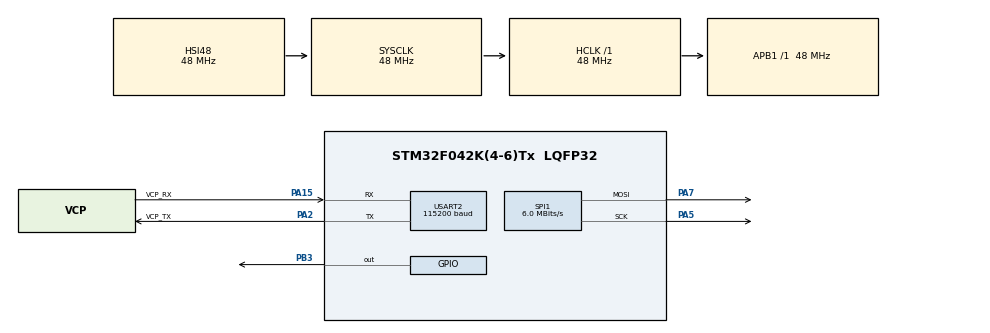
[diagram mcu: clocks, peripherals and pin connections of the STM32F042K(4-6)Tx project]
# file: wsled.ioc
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Dma.Request0=USART2_RX
Dma.Request1=USART2_TX
Dma.Request2=SPI1_TX
Dma.SPI1_TX.2.Direction=DMA_MEMORY_TO_PERIPH
Dma.SPI1_TX.2.Instance=DMA1_Channel3
Dma.SPI1_TX.2.MemDataAlignment=DMA_MDATAALIGN_BYTE
Dma.SPI1_TX.2.MemInc=DMA_MINC_ENABLE
Dma.SPI1_TX.2.Mode=DMA_NORMAL
Dma.SPI1_TX.2.PeriphDataAlignment=DMA_PDATAALIGN_BYTE
Dma.SPI1_TX.2.PeriphInc=DMA_PINC_DISABLE
Dma.SPI1_TX.2.Priority=DMA_PRIORITY_LOW
Dma.USART2_RX.0.Direction=DMA_PERIPH_TO_MEMORY
Dma.USART2_RX.0.Instance=DMA1_Channel5
Dma.USART2_RX.0.MemDataAlignment=DMA_MDATAALIGN_BYTE
Dma.USART2_RX.0.MemInc=DMA_MINC_ENABLE
Dma.USART2_RX.0.Mode=DMA_NORMAL
Dma.USART2_RX.0.PeriphDataAlignment=DMA_PDATAALIGN_BYTE
Dma.USART2_RX.0.PeriphInc=DMA_PINC_DISABLE
Dma.USART2_RX.0.Priority=DMA_PRIORITY_LOW
Dma.USART2_TX.1.Direction=DMA_MEMORY_TO_PERIPH
Dma.USART2_TX.1.Instance=DMA1_Channel4
Dma.USART2_TX.1.MemDataAlignment=DMA_MDATAALIGN_BYTE
Dma.USART2_TX.1.MemInc=DMA_MINC_ENABLE
Dma.USART2_TX.1.Mode=DMA_NORMAL
Dma.USART2_TX.1.PeriphDataAlignment=DMA_PDATAALIGN_BYTE
Dma.USART2_TX.1.PeriphInc=DMA_PINC_DISABLE
Dma.USART2_TX.1.Priority=DMA_PRIORITY_LOW
Mcu.Family=STM32F0
Mcu.Name=STM32F042K(4-6)Tx
Mcu.Package=LQFP32
NVIC.DMA1_Channel2_3_IRQn=true\:0\:0\:false\:false\:true\:false
NVIC.DMA1_Channel4_5_IRQn=true\:0\:0\:false\:false\:true\:false
NVIC.SPI1_IRQn=true\:0\:0\:false\:false\:true\:true
NVIC.USART2_IRQn=true\:0\:0\:false\:false\:true\:true
PA13.GPIO_Label=SWDIO
PA13.Mode=Serial_Wire
PA13.Signal=SYS_SWDIO
PA14.GPIO_Label=SWCLK
PA14.Mode=Serial_Wire
PA14.Signal=SYS_SWCLK
PA15.GPIO_Label=VCP_RX
PA15.Mode=Multiprocessor_communication
PA15.Signal=USART2_RX
PA2.GPIO_Label=VCP_TX
PA2.Mode=Multiprocessor_communication
PA2.Signal=USART2_TX
PA5.Mode=TX_Only_Simplex_Unidirect_Master
PA5.Signal=SPI1_SCK
PA7.Mode=TX_Only_Simplex_Unidirect_Master
PA7.Signal=SPI1_MOSI
PB3.Signal=GPIO_Output
PF0-OSC_IN.GPIO_Label=MCO
PF0-OSC_IN.Signal=RCC_OSC_IN
ProjectManager.HeapSize=0x200
ProjectManager.StackSize=0x400
ProjectManager.TargetToolchain=MDK-ARM V5
RCC.AHBFreq_Value=48000000
RCC.APB1Freq_Value=48000000
RCC.APB1TimFreq_Value=48000000
RCC.HCLKFreq_Value=48000000
RCC.PLLSourceVirtual=RCC_PLLSOURCE_HSI48
RCC.SYSCLKFreq_VALUE=48000000
RCC.SYSCLKSource=RCC_SYSCLKSOURCE_HSI48
SPI1.BaudRatePrescaler=SPI_BAUDRATEPRESCALER_8
SPI1.CalculateBaudRate=6.0 MBits/s
SPI1.DataSize=SPI_DATASIZE_8BIT
SPI1.Direction=SPI_DIRECTION_2LINES
SPI1.Mode=SPI_MODE_MASTER
SPI1.NSSPMode=SPI_NSS_PULSE_DISABLE
SPI1.VirtualType=VM_MASTER
USART2.BaudRate=115200
USART2.VirtualMode-Multiprocessor_communication=VM_ASYNC
USART2.WordLength=WORDLENGTH_8B
board=NUCLEO-F042K6

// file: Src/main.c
/**
  ******************************************************************************
  * @file           : main.c
  * @brief          : Main program body
  ******************************************************************************
  ** This notice applies to any and all portions of this file
  * that are not between comment pairs USER CODE BEGIN and
  * USER CODE END. Other portions of this file, whether
  * inserted by the user or by software development tools
  * are owned by their respective copyright owners.
  *
  * COPYRIGHT(c) 2018 STMicroelectronics
  *
  * Redistribution and use in source and binary forms, with or without modification,
  * are permitted provided that the following conditions are met:
  *   1. Redistributions of source code must retain the above copyright notice,
  *      this list of conditions and the following disclaimer.
  *   2. Redistributions in binary form must reproduce the above copyright notice,
  *      this list of conditions and the following disclaimer in the documentation
  *      and/or other materials provided with the distribution.
  *   3. Neither the name of STMicroelectronics nor the names of its contributors
  *      may be used to endorse or promote products derived from this software
  *      without specific prior written permission.
  *
  * THIS SOFTWARE IS PROVIDED BY THE COPYRIGHT HOLDERS AND CONTRIBUTORS "AS IS"
  * AND ANY EXPRESS OR IMPLIED WARRANTIES, INCLUDING, BUT NOT LIMITED TO, THE
  * IMPLIED WARRANTIES OF MERCHANTABILITY AND FITNESS FOR A PARTICULAR PURPOSE ARE
  * DISCLAIMED. IN NO EVENT SHALL THE COPYRIGHT HOLDER OR CONTRIBUTORS BE LIABLE
  * FOR ANY DIRECT, INDIRECT, INCIDENTAL, SPECIAL, EXEMPLARY, OR CONSEQUENTIAL
  * DAMAGES (INCLUDING, BUT NOT LIMITED TO, PROCUREMENT OF SUBSTITUTE GOODS OR
  * SERVICES; LOSS OF USE, DATA, OR PROFITS; OR BUSINESS INTERRUPTION) HOWEVER
  * CAUSED AND ON ANY THEORY OF LIABILITY, WHETHER IN CONTRACT, STRICT LIABILITY,
  * OR TORT (INCLUDING NEGLIGENCE OR OTHERWISE) ARISING IN ANY WAY OUT OF THE USE
  * OF THIS SOFTWARE, EVEN IF ADVISED OF THE POSSIBILITY OF SUCH DAMAGE.
  *
  ******************************************************************************
  */
#include "main.h"
#include "stm32f0xx_hal.h"
#include "dma.h"
#include "spi.h"
#include "usart.h"
#include "gpio.h"

/* USER CODE BEGIN Includes */
#include "ws2812.h"
/* USER CODE END Includes */

/* USER CODE BEGIN PV */
/* Private variables ---------------------------------------------------------*/

/* USER CODE END PV */

void SystemClock_Config(void);

/* USER CODE BEGIN PFP */
/* Private function prototypes -----------------------------------------------*/

/* USER CODE END PFP */

int main(void)
{
  /* USER CODE BEGIN 1 */
	//uint8_t Data[100];
	uint8_t Zero[10] ={0};
	uint32_t i,j = 0;
  /* USER CODE END 1 */

  /* MCU Configuration----------------------------------------------------------*/

  /* Reset of all peripherals, Initializes the Flash interface and the Systick. */
  HAL_Init();

  /* Configure the system clock */
  SystemClock_Config();

  /* Initialize all configured peripherals */
  MX_GPIO_Init();
  MX_DMA_Init();
  MX_SPI1_Init();
  MX_USART2_UART_Init();
  /* USER CODE BEGIN 2 */
  LightInit();
  /* USER CODE END 2 */

  /* Infinite loop */
  /* USER CODE BEGIN WHILE */
  while (1)
  {

		for(i = 0; i < 32 ; i++)
		{
			//SetLightColor(ColorTable[(j+i)%6],i);
			//SetLightRGB(0,255,0,i);
		}
		SmartLight();
		j++;
		LightUpdate();
		HAL_Delay(50);
		if(j < 300)
		{
			LightStatus.LEFT = LightStatus.Right = 0;
			LightStatus.BrakeLight = 0;
		}else if(j < 600)
		{
			LightStatus.LEFT = 1;
			LightStatus.BrakeLight = 1;
			LightStatus.MainLight  = 0;

		}
		else if(j < 900)
		{
			LightStatus.LEFT = 0;
			LightStatus.Right = 1;
			LightStatus.BrakeLight = 1;
			LightStatus.MainLight  = 0;
		}else
		{
			j = 0;
		}
  /* USER CODE END WHILE */

  }

}

void SystemClock_Config(void)
{

  RCC_OscInitTypeDef RCC_OscInitStruct;
  RCC_ClkInitTypeDef RCC_ClkInitStruct;

    /**Initializes the CPU, AHB and APB busses clocks
    */
  RCC_OscInitStruct.OscillatorType = RCC_OSCILLATORTYPE_HSI48;
  RCC_OscInitStruct.HSI48State = RCC_HSI48_ON;
  RCC_OscInitStruct.PLL.PLLState = RCC_PLL_NONE;
  if (HAL_RCC_OscConfig(&RCC_OscInitStruct) != HAL_OK)
  {
    _Error_Handler(__FILE__, __LINE__);
  }

    /**Initializes the CPU, AHB and APB busses clocks
    */
  RCC_ClkInitStruct.ClockType = RCC_CLOCKTYPE_HCLK|RCC_CLOCKTYPE_SYSCLK
                              |RCC_CLOCKTYPE_PCLK1;
  RCC_ClkInitStruct.SYSCLKSource = RCC_SYSCLKSOURCE_HSI48;
  RCC_ClkInitStruct.AHBCLKDivider = RCC_SYSCLK_DIV1;
  RCC_ClkInitStruct.APB1CLKDivider = RCC_HCLK_DIV1;

  if (HAL_RCC_ClockConfig(&RCC_ClkInitStruct, FLASH_LATENCY_1) != HAL_OK)
  {
    _Error_Handler(__FILE__, __LINE__);
  }

    /**Configure the Systick interrupt time
    */
  HAL_SYSTICK_Config(HAL_RCC_GetHCLKFreq()/1000);

    /**Configure the Systick
    */
  HAL_SYSTICK_CLKSourceConfig(SYSTICK_CLKSOURCE_HCLK);

  /* SysTick_IRQn interrupt configuration */
  HAL_NVIC_SetPriority(SysTick_IRQn, 0, 0);
}

void _Error_Handler(char *file, int line)
{
  while(1)
  {
  }
}

/************************ (C) COPYRIGHT STMicroelectronics *****END OF FILE****/
